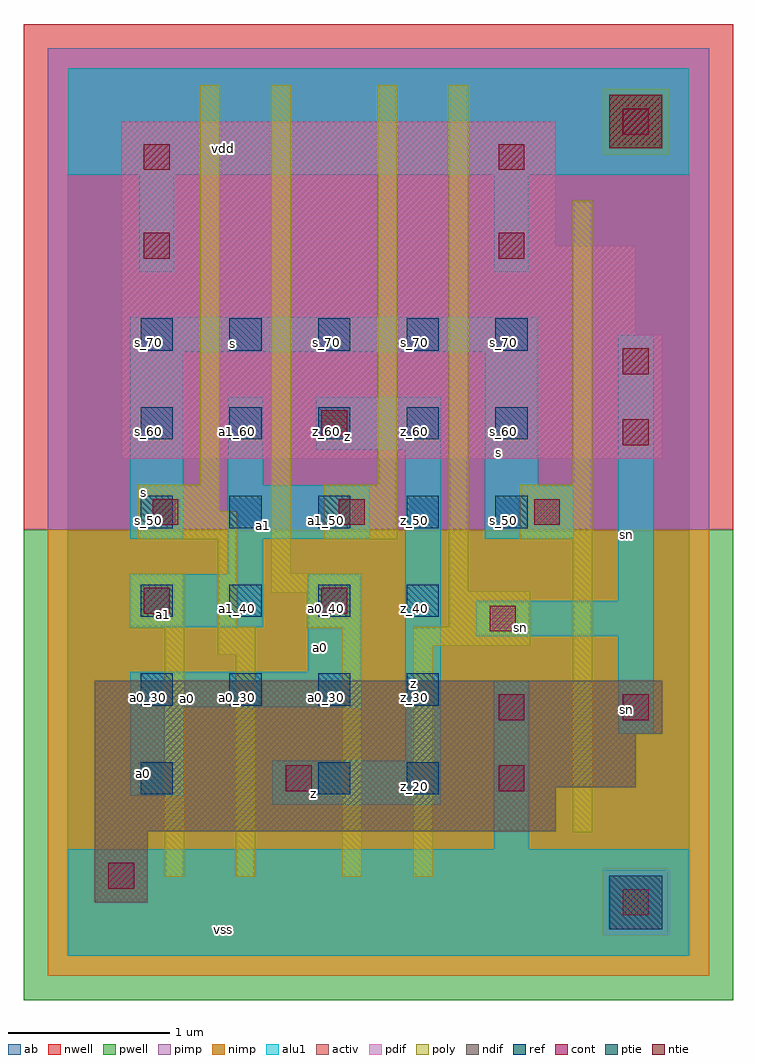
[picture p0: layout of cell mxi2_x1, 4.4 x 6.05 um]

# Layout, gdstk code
import gdstk
lib = gdstk.Library(unit=1e-6, precision=2.5e-09)
def R(c, l, rs):  # rectangles x0, y0, x1, y1
    for r in rs: c.add(gdstk.rectangle(r[:2], r[2:], *l))
def A(c, l, x, y, w, h, nx, ny, dx, dy):  # array of equal rectangles
    R(c, l, [(x+i*dx, y+j*dy, x+i*dx+w, y+j*dy+h) for i in range(nx) for j in range(ny)])
ndif = (3, 0)
pdif = (4, 0)
ntie = (5, 0)
ptie = (6, 0)
ref = (24, 0)
cont = (25, 0)
pwell = (41, 0)
nwell = (42, 0)
activ = (43, 0)
pimp = (44, 0)
nimp = (45, 0)
poly = (46, 0)
alu1 = (49, 0)
ab = (63, 0)

mxi2_x1 = lib.new_cell('mxi2_x1')
R(mxi2_x1, ndif, [(0.165,0.33,0.495,0.77), (0.165,0.77,3.025,1.045), (0.165,1.045,3.52,1.375), (0.165,1.375,3.685,1.705)])
R(mxi2_x1, pdif, [(0.33,3.08,3.685,3.85), (0.33,3.85,3.52,4.4), (0.33,4.4,3.025,5.17)])
R(mxi2_x1, ntie, [(3.355,5.005,3.685,5.335)])
R(mxi2_x1, ptie, [(3.355,0.165,3.685,0.495)])
A(mxi2_x1, ref, 0.45, 1.55, 0.2, 0.2, 4, 2, 0.55, 0.55)
A(mxi2_x1, ref, 0.45, 2.65, 0.2, 0.2, 5, 3, 0.55, 0.55)
R(mxi2_x1, ref, [(0.45,1,0.65,1.2), (1.55,1,1.75,1.2), (2.1,1,2.3,1.2)])
R(mxi2_x1, cont, [(3.44,0.25,3.6,0.41), (0.25,0.415,0.41,0.575), (1.35,1.02,1.51,1.18), (2.67,1.02,2.83,1.18), (2.67,1.46,2.83,1.62), (3.44,1.46,3.6,1.62), (2.615,2.01,2.775,2.17), (0.47,2.12,0.63,2.28), (1.57,2.12,1.73,2.28), (0.525,2.67,0.685,2.83), (1.68,2.67,1.84,2.83), (2.89,2.67,3.05,2.83), (3.44,3.165,3.6,3.325), (1.57,3.22,1.73,3.38), (3.44,3.605,3.6,3.765), (0.47,4.32,0.63,4.48), (2.67,4.32,2.83,4.48), (0.47,4.87,0.63,5.03), (2.67,4.87,2.83,5.03), (3.44,5.09,3.6,5.25)])
R(mxi2_x1, pwell, [(-0.275,-0.275,4.125,2.64)])
R(mxi2_x1, nwell, [(-0.275,2.64,4.125,5.775)])
R(mxi2_x1, activ, [(3.355,0.165,3.685,0.495), (0.165,0.33,0.495,0.77), (0.165,0.77,3.025,1.045), (0.165,1.045,3.52,1.375), (0.165,1.375,3.685,1.705), (0.33,3.08,3.685,3.85), (0.33,3.85,3.52,4.4), (0.33,4.4,3.025,5.17), (3.355,5.005,3.685,5.335)])
R(mxi2_x1, pimp, [(3.315,0.125,3.725,0.535), (-0.125,2.64,3.975,4.965), (-0.125,4.965,3.315,5.375), (3.725,4.965,3.975,5.375), (-0.125,5.375,3.975,5.625)])
R(mxi2_x1, nimp, [(-0.125,-0.125,3.975,0.125), (-0.125,0.125,3.315,0.535), (3.725,0.125,3.975,0.535), (-0.125,0.535,3.975,2.64), (3.315,4.965,3.725,5.375)])
R(mxi2_x1, poly, [(0.6,0.49,0.72,2.03), (1.04,0.49,1.16,1.865), (1.7,0.49,1.82,2.03), (2.14,0.49,2.26,1.92), (3.13,0.765,3.25,2.58), (0.93,1.865,1.16,2.04), (2.14,1.92,2.865,2.04), (0.38,2.03,0.72,2.37), (1.48,2.03,1.82,2.25), (0.93,2.04,1.05,2.58), (2.36,2.04,2.865,2.26), (1.26,2.25,1.82,2.37), (2.36,2.26,2.48,5.395), (1.26,2.37,1.38,5.395), (0.435,2.58,1.05,2.755), (1.59,2.58,2.04,2.92), (2.8,2.58,3.25,2.92), (0.435,2.755,0.94,2.92), (0.82,2.92,0.94,5.395), (1.92,2.92,2.04,5.395), (3.13,2.92,3.25,4.68)])
R(mxi2_x1, alu1, [(0,0,3.85,0.66), (2.64,0.66,2.86,1.705), (1.265,0.935,2.31,1.21), (0.385,0.99,0.715,1.54), (2.09,1.21,2.31,3.135), (3.41,1.375,3.63,1.98), (0.385,1.54,1.815,1.76), (1.485,1.76,1.815,2.365), (2.53,1.98,3.63,2.2), (0.385,2.035,1.21,2.365), (3.41,2.2,3.63,3.85), (0.99,2.365,1.21,2.585), (0.385,2.585,0.715,3.74), (0.99,2.585,1.87,2.915), (2.585,2.585,3.135,2.915), (0.99,2.915,1.21,3.465), (2.585,2.915,2.915,3.74), (1.54,3.135,2.31,3.465), (0.385,3.74,2.915,3.96), (0.44,4.235,0.66,4.84), (2.64,4.235,2.86,4.84), (0,4.84,3.85,5.5)])
R(mxi2_x1, ab, [(0,0,3.85,5.5)])
mxi2_x1.add(gdstk.Label('vss', (0.9625,0.165), layer=49, texttype=0))
mxi2_x1.add(gdstk.Label('sn', (3.465,1.525), layer=49, texttype=0))
mxi2_x1.add(gdstk.Label('z', (1.525,1.0025), layer=49, texttype=0))
mxi2_x1.add(gdstk.Label('sn', (2.805,2.035), layer=49, texttype=0))
mxi2_x1.add(gdstk.Label('sn', (3.465,2.6125), layer=49, texttype=0))
mxi2_x1.add(gdstk.Label('s', (2.6675,3.12), layer=49, texttype=0))
mxi2_x1.add(gdstk.Label('z', (2.145,1.69), layer=49, texttype=0))
mxi2_x1.add(gdstk.Label('a0', (0.4675,1.1275), layer=49, texttype=0))
mxi2_x1.add(gdstk.Label('a0', (0.7425,1.595), layer=49, texttype=0))
mxi2_x1.add(gdstk.Label('a0', (1.5675,1.91), layer=49, texttype=0))
mxi2_x1.add(gdstk.Label('a1', (0.59,2.1175), layer=49, texttype=0))
mxi2_x1.add(gdstk.Label('a1', (1.21,2.6675), layer=49, texttype=0))
mxi2_x1.add(gdstk.Label('z', (1.7325,3.2175), layer=49, texttype=0))
mxi2_x1.add(gdstk.Label('s', (0.4675,2.8725), layer=49, texttype=0))
mxi2_x1.add(gdstk.Label('s', (1.0175,3.795), layer=49, texttype=0))
mxi2_x1.add(gdstk.Label('vdd', (0.9625,5.005), layer=49, texttype=0))
mxi2_x1.add(gdstk.Label('z_50', (2.15,2.7), layer=24, texttype=0))
mxi2_x1.add(gdstk.Label('z_40', (2.15,2.15), layer=24, texttype=0))
mxi2_x1.add(gdstk.Label('z_30', (2.15,1.6), layer=24, texttype=0))
mxi2_x1.add(gdstk.Label('s_50', (2.7,2.7), layer=24, texttype=0))
mxi2_x1.add(gdstk.Label('s_60', (2.7,3.25), layer=24, texttype=0))
mxi2_x1.add(gdstk.Label('a0_30', (0.5,1.05), layer=24, texttype=0))
mxi2_x1.add(gdstk.Label('a0_30', (0.5,1.6), layer=24, texttype=0))
mxi2_x1.add(gdstk.Label('a0_30', (1.05,1.6), layer=24, texttype=0))
mxi2_x1.add(gdstk.Label('a0_30', (1.6,1.6), layer=24, texttype=0))
mxi2_x1.add(gdstk.Label('a0_40', (1.6,2.15), layer=24, texttype=0))
mxi2_x1.add(gdstk.Label('z_20', (2.15,1.05), layer=24, texttype=0))
mxi2_x1.add(gdstk.Label('z_60', (2.15,3.25), layer=24, texttype=0))
mxi2_x1.add(gdstk.Label('z_60', (1.6,3.25), layer=24, texttype=0))
mxi2_x1.add(gdstk.Label('a1_60', (1.05,3.25), layer=24, texttype=0))
mxi2_x1.add(gdstk.Label('a1_50', (1.6,2.7), layer=24, texttype=0))
mxi2_x1.add(gdstk.Label('a1_50', (1.05,2.7), layer=24, texttype=0))
mxi2_x1.add(gdstk.Label('a1_40', (1.05,2.15), layer=24, texttype=0))
mxi2_x1.add(gdstk.Label('a1_40', (0.5,2.15), layer=24, texttype=0))
mxi2_x1.add(gdstk.Label('s_70', (2.7,3.8), layer=24, texttype=0))
mxi2_x1.add(gdstk.Label('s_70', (2.15,3.8), layer=24, texttype=0))
mxi2_x1.add(gdstk.Label('s_70', (1.6,3.8), layer=24, texttype=0))
mxi2_x1.add(gdstk.Label('s_70', (1.05,3.8), layer=24, texttype=0))
mxi2_x1.add(gdstk.Label('s_70', (0.5,3.8), layer=24, texttype=0))
mxi2_x1.add(gdstk.Label('s_60', (0.5,3.25), layer=24, texttype=0))
mxi2_x1.add(gdstk.Label('s_50', (0.5,2.7), layer=24, texttype=0))
mxi2_x1.add(gdstk.Label('z_20', (1.6,1.05), layer=24, texttype=0))

lib.write_gds('mxi2_x1.gds')
